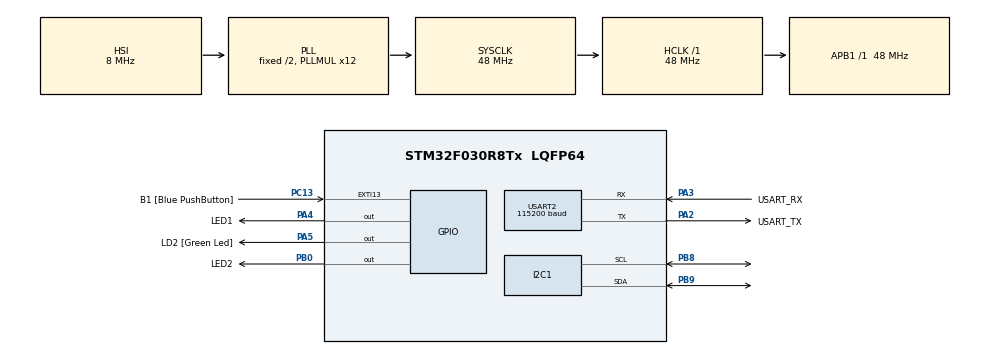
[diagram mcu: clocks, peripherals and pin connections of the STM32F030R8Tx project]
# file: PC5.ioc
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Dma.Request0=USART2_RX
Dma.USART2_RX.0.Direction=DMA_PERIPH_TO_MEMORY
Dma.USART2_RX.0.Instance=DMA1_Channel5
Dma.USART2_RX.0.MemDataAlignment=DMA_MDATAALIGN_BYTE
Dma.USART2_RX.0.MemInc=DMA_MINC_ENABLE
Dma.USART2_RX.0.Mode=DMA_CIRCULAR
Dma.USART2_RX.0.PeriphDataAlignment=DMA_PDATAALIGN_BYTE
Dma.USART2_RX.0.PeriphInc=DMA_PINC_DISABLE
Dma.USART2_RX.0.Priority=DMA_PRIORITY_LOW
I2C1.Timing=0x00201D2B
Mcu.Family=STM32F0
Mcu.Name=STM32F030R8Tx
Mcu.Package=LQFP64
NVIC.DMA1_Channel4_5_IRQn=true\:0\:0\:false\:false\:true\:false\:true\:true
PA13.GPIO_Label=TMS
PA13.Mode=Serial_Wire
PA13.Signal=SYS_SWDIO
PA14.GPIO_Label=TCK
PA14.Mode=Serial_Wire
PA14.Signal=SYS_SWCLK
PA2.GPIO_Label=USART_TX
PA2.GPIO_Mode=GPIO_MODE_AF_PP
PA2.GPIO_PuPd=GPIO_NOPULL
PA2.GPIO_Speed=GPIO_SPEED_FREQ_LOW
PA2.Mode=Asynchronous
PA2.Signal=USART2_TX
PA3.GPIO_Label=USART_RX
PA3.GPIO_Mode=GPIO_MODE_AF_PP
PA3.GPIO_PuPd=GPIO_NOPULL
PA3.GPIO_Speed=GPIO_SPEED_FREQ_LOW
PA3.Mode=Asynchronous
PA3.Signal=USART2_RX
PA4.GPIO_Label=LED1
PA4.Signal=GPIO_Output
PA5.GPIO_Label=LD2 [Green Led]
PA5.GPIO_Mode=GPIO_MODE_OUTPUT_PP
PA5.GPIO_PuPd=GPIO_NOPULL
PA5.GPIO_Speed=GPIO_SPEED_FREQ_LOW
PA5.Signal=GPIO_Output
PB0.GPIO_Label=LED2
PB0.Signal=GPIO_Output
PB8.Mode=I2C
PB8.Signal=I2C1_SCL
PB9.Mode=I2C
PB9.Signal=I2C1_SDA
PC13.GPIO_Label=B1 [Blue PushButton]
PC13.GPIO_ModeDefaultEXTI=GPIO_MODE_IT_FALLING
PC13.Signal=GPXTI13
PC14-OSC32_IN.Mode=LSE-External-Oscillator
PC14-OSC32_IN.Signal=RCC_OSC32_IN
PC15-OSC32_OUT.Mode=LSE-External-Oscillator
PC15-OSC32_OUT.Signal=RCC_OSC32_OUT
PF0-OSC_IN.Mode=HSE-External-Clock-Source
PF0-OSC_IN.Signal=RCC_OSC_IN
PF1-OSC_OUT.Signal=RCC_OSC_OUT
ProjectManager.HeapSize=0x200
ProjectManager.StackSize=0x400
ProjectManager.TargetToolchain=STM32CubeIDE
RCC.AHBFreq_Value=48000000
RCC.APB1Freq_Value=48000000
RCC.APB1TimFreq_Value=48000000
RCC.HCLKFreq_Value=48000000
RCC.PLLMUL=RCC_PLL_MUL12
RCC.SYSCLKFreq_VALUE=48000000
RCC.SYSCLKSource=RCC_SYSCLKSOURCE_PLLCLK
USART2.BaudRate=115200
USART2.VirtualMode-Asynchronous=VM_ASYNC
board=NUCLEO-F030R8

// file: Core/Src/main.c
/* USER CODE BEGIN Header */
/**
 ******************************************************************************
 * @file           : main.c
 * @brief          : Main program body
 ******************************************************************************
 * @attentio
 *
 * Copyright (c) 2025 STMicroelectronics.
 * All rights reserved.
 *
 * This software is licensed under terms that can be found in the LICENSE file
 * in the root directory of this software component.
 * If no LICENSE file comes with this software, it is provided AS-IS.
 *
 ******************************************************************************
 */
/* USER CODE END Header */
#include "main.h"

/* USER CODE BEGIN Includes */
#include <stdio.h>
#include <string.h>
#include <stdlib.h>

/* USER CODE END Includes */

/* USER CODE BEGIN PD */
#define RX_BUFFER_LEN 64
static uint8_t uart_rx_buf[RX_BUFFER_LEN];
static volatile uint16_t uart_rx_read_ptr = 0;
#define uart_rx_write_ptr (RX_BUFFER_LEN - hdma_usart2_rx.Instance->CNDTR)

static void uart_byte_available(uint8_t c);
static void uart_process_command(char cmd[]);

#define CMD_BUFFER_LEN 256

#define EEPROM_ADDR 0xA0

/* USER CODE END PD */

I2C_HandleTypeDef hi2c1;

UART_HandleTypeDef huart2;
DMA_HandleTypeDef hdma_usart2_rx;

void SystemClock_Config(void);
static void MX_GPIO_Init(void);
static void MX_DMA_Init(void);
static void MX_USART2_UART_Init(void);
static void MX_I2C1_Init(void);

/* USER CODE BEGIN 0 */
int _write(int file, char const *buf, int n)
{
	/* stdout redirection to UART2 */
	HAL_UART_Transmit(&huart2, (uint8_t*)(buf), n, HAL_MAX_DELAY);
	return n;
}
/* USER CODE END 0 */

int main(void)
{

	/* MCU Configuration--------------------------------------------------------*/

	/* Reset of all peripherals, Initializes the Flash interface and the Systick. */
	HAL_Init();

	/* Configure the system clock */
	SystemClock_Config();

	/* Initialize all configured peripherals */
	MX_GPIO_Init();
	MX_DMA_Init();
	MX_USART2_UART_Init();
	MX_I2C1_Init();

	/* Infinite loop */
	/* USER CODE BEGIN WHILE */
	while (1)
	{
		while (uart_rx_read_ptr != uart_rx_write_ptr) {
			uint8_t b = uart_rx_buf[uart_rx_read_ptr];
			// increase read pointer
			if (++uart_rx_read_ptr >= RX_BUFFER_LEN) uart_rx_read_ptr = 0;
			// process every received byte with the RX state machine
			uart_byte_available(b);
		}

		/* USER CODE END WHILE */

	}
}

void SystemClock_Config(void)
{
	RCC_OscInitTypeDef RCC_OscInitStruct = {0};
	RCC_ClkInitTypeDef RCC_ClkInitStruct = {0};
	RCC_PeriphCLKInitTypeDef PeriphClkInit = {0};

	/** Initializes the RCC Oscillators according to the specified parameters
	 * in the RCC_OscInitTypeDef structure.
	 */
	RCC_OscInitStruct.OscillatorType = RCC_OSCILLATORTYPE_HSI;
	RCC_OscInitStruct.HSIState = RCC_HSI_ON;
	RCC_OscInitStruct.HSICalibrationValue = RCC_HSICALIBRATION_DEFAULT;
	RCC_OscInitStruct.PLL.PLLState = RCC_PLL_ON;
	RCC_OscInitStruct.PLL.PLLSource = RCC_PLLSOURCE_HSI;
	RCC_OscInitStruct.PLL.PLLMUL = RCC_PLL_MUL12;
	RCC_OscInitStruct.PLL.PREDIV = RCC_PREDIV_DIV1;
	if (HAL_RCC_OscConfig(&RCC_OscInitStruct) != HAL_OK)
	{
		Error_Handler();
	}

	/** Initializes the CPU, AHB and APB buses clocks
	 */
	RCC_ClkInitStruct.ClockType = RCC_CLOCKTYPE_HCLK|RCC_CLOCKTYPE_SYSCLK
			|RCC_CLOCKTYPE_PCLK1;
	RCC_ClkInitStruct.SYSCLKSource = RCC_SYSCLKSOURCE_PLLCLK;
	RCC_ClkInitStruct.AHBCLKDivider = RCC_SYSCLK_DIV1;
	RCC_ClkInitStruct.APB1CLKDivider = RCC_HCLK_DIV1;

	if (HAL_RCC_ClockConfig(&RCC_ClkInitStruct, FLASH_LATENCY_1) != HAL_OK)
	{
		Error_Handler();
	}
	PeriphClkInit.PeriphClockSelection = RCC_PERIPHCLK_I2C1;
	PeriphClkInit.I2c1ClockSelection = RCC_I2C1CLKSOURCE_HSI;
	if (HAL_RCCEx_PeriphCLKConfig(&PeriphClkInit) != HAL_OK)
	{
		Error_Handler();
	}
}

static void MX_I2C1_Init(void)
{

	hi2c1.Instance = I2C1;
	hi2c1.Init.Timing = 0x00201D2B;
	hi2c1.Init.OwnAddress1 = 0;
	hi2c1.Init.AddressingMode = I2C_ADDRESSINGMODE_7BIT;
	hi2c1.Init.DualAddressMode = I2C_DUALADDRESS_DISABLE;
	hi2c1.Init.OwnAddress2 = 0;
	hi2c1.Init.OwnAddress2Masks = I2C_OA2_NOMASK;
	hi2c1.Init.GeneralCallMode = I2C_GENERALCALL_DISABLE;
	hi2c1.Init.NoStretchMode = I2C_NOSTRETCH_DISABLE;
	if (HAL_I2C_Init(&hi2c1) != HAL_OK)
	{
		Error_Handler();
	}

	/** Configure Analogue filter
	 */
	if (HAL_I2CEx_ConfigAnalogFilter(&hi2c1, I2C_ANALOGFILTER_ENABLE) != HAL_OK)
	{
		Error_Handler();
	}

	/** Configure Digital filter
	 */
	if (HAL_I2CEx_ConfigDigitalFilter(&hi2c1, 0) != HAL_OK)
	{
		Error_Handler();
	}

}

static void MX_USART2_UART_Init(void)
{

	huart2.Instance = USART2;
	huart2.Init.BaudRate = 115200;
	huart2.Init.WordLength = UART_WORDLENGTH_8B;
	huart2.Init.StopBits = UART_STOPBITS_1;
	huart2.Init.Parity = UART_PARITY_NONE;
	huart2.Init.Mode = UART_MODE_TX_RX;
	huart2.Init.HwFlowCtl = UART_HWCONTROL_NONE;
	huart2.Init.OverSampling = UART_OVERSAMPLING_16;
	huart2.Init.OneBitSampling = UART_ONE_BIT_SAMPLE_DISABLE;
	huart2.AdvancedInit.AdvFeatureInit = UART_ADVFEATURE_NO_INIT;
	if (HAL_UART_Init(&huart2) != HAL_OK)
	{
		Error_Handler();
	}
	/* USER CODE BEGIN USART2_Init 2 */

	HAL_UART_Receive_DMA(&huart2, uart_rx_buf, RX_BUFFER_LEN);

	/* USER CODE END USART2_Init 2 */

}

static void MX_DMA_Init(void)
{

	/* DMA controller clock enable */
	__HAL_RCC_DMA1_CLK_ENABLE();

	/* DMA interrupt init */
	/* DMA1_Channel4_5_IRQn interrupt configuration */
	HAL_NVIC_SetPriority(DMA1_Channel4_5_IRQn, 0, 0);
	HAL_NVIC_EnableIRQ(DMA1_Channel4_5_IRQn);

}

static void MX_GPIO_Init(void)
{
	GPIO_InitTypeDef GPIO_InitStruct = {0};

	/* GPIO Ports Clock Enable */
	__HAL_RCC_GPIOC_CLK_ENABLE();
	__HAL_RCC_GPIOF_CLK_ENABLE();
	__HAL_RCC_GPIOA_CLK_ENABLE();
	__HAL_RCC_GPIOB_CLK_ENABLE();

	/*Configure GPIO pin Output Level */
	HAL_GPIO_WritePin(GPIOA, LED1_Pin|LD2_Pin, GPIO_PIN_RESET);

	/*Configure GPIO pin Output Level */
	HAL_GPIO_WritePin(LED2_GPIO_Port, LED2_Pin, GPIO_PIN_RESET);

	/*Configure GPIO pin : B1_Pin */
	GPIO_InitStruct.Pin = B1_Pin;
	GPIO_InitStruct.Mode = GPIO_MODE_IT_FALLING;
	GPIO_InitStruct.Pull = GPIO_NOPULL;
	HAL_GPIO_Init(B1_GPIO_Port, &GPIO_InitStruct);

	/*Configure GPIO pins : LED1_Pin LD2_Pin */
	GPIO_InitStruct.Pin = LED1_Pin|LD2_Pin;
	GPIO_InitStruct.Mode = GPIO_MODE_OUTPUT_PP;
	GPIO_InitStruct.Pull = GPIO_NOPULL;
	GPIO_InitStruct.Speed = GPIO_SPEED_FREQ_LOW;
	HAL_GPIO_Init(GPIOA, &GPIO_InitStruct);

	/*Configure GPIO pin : LED2_Pin */
	GPIO_InitStruct.Pin = LED2_Pin;
	GPIO_InitStruct.Mode = GPIO_MODE_OUTPUT_PP;
	GPIO_InitStruct.Pull = GPIO_NOPULL;
	GPIO_InitStruct.Speed = GPIO_SPEED_FREQ_LOW;
	HAL_GPIO_Init(LED2_GPIO_Port, &GPIO_InitStruct);

}

/* USER CODE BEGIN 4 */

static void uart_byte_available(uint8_t c)
{
	static uint16_t cnt;
	static char data[CMD_BUFFER_LEN];
	if (cnt < CMD_BUFFER_LEN && c >= 32 && c <= 126) data[cnt++] = c;
	if ((c == '\n' || c == '\r') && cnt > 0) {
		data[cnt] = '\0';
		uart_process_command(data);
		cnt = 0;
	}
}

static void uart_process_command(char cmd[]){
	char *token;
	token = strtok(cmd, " ");
	if (strcasecmp(token, "HELLO") == 0) {
		printf("Communication OK\n");
		return;
	}
	else if (strcasecmp(token, "LED1") == 0) {
		token = strtok(NULL, " ");
		if (strcasecmp(token, "ON") == 0) {
			HAL_GPIO_WritePin(LED1_GPIO_Port, LED1_Pin, 1);
			return;

		} else if (strcasecmp(token, "OFF") == 0) {
			HAL_GPIO_WritePin(LED1_GPIO_Port, LED1_Pin, 0);
			return;
		}
	}
	else if (strcasecmp(token, "LED2") == 0) {
		token = strtok(NULL, " ");
		if (strcasecmp(token, "ON") == 0) {
			HAL_GPIO_WritePin(LED2_GPIO_Port, LED2_Pin, 1);
			return;
		} else if (strcasecmp(token, "OFF") == 0) {
			HAL_GPIO_WritePin(LED2_GPIO_Port, LED2_Pin, 0);
			return;
		}
	}
	else if (strcasecmp(token, "STATUS") == 0) {
		printf("LEDs status: LED1 je '%s', LED2 je '%s'\n", HAL_GPIO_ReadPin(LED1_GPIO_Port, LED1_Pin)?"on":"off", HAL_GPIO_ReadPin(LED2_GPIO_Port, LED2_Pin)?"on":"off");
		return;
	}
	else if (strcasecmp(token, "READ") == 0) {
		token = strtok(NULL, " ");
		uint16_t addr = atoi(token);
		uint8_t value;
		/* Check if the EEPROM is ready for a new operation */
		while (HAL_I2C_IsDeviceReady(&hi2c1, EEPROM_ADDR, 300, 1000) != HAL_OK) {}
		HAL_I2C_Mem_Read(&hi2c1, EEPROM_ADDR, addr, I2C_MEMADD_SIZE_16BIT, &value, 1, 1000);
		printf("EEPROM data on adress: addr je '%u', data je '%u'\n", addr, value);
		return;
	}
	else if (strcasecmp(token, "WRITE") == 0) {
		token = strtok(NULL, " ");
		uint16_t addr =  atoi(token);
		token = strtok(NULL, " ");
		uint8_t value =  atoi(token);
		/* Check if the EEPROM is ready for a new operation */

		while (HAL_I2C_IsDeviceReady(&hi2c1, EEPROM_ADDR, 300, 1000) != HAL_OK) {}
		HAL_I2C_Mem_Write(&hi2c1, EEPROM_ADDR, addr, I2C_MEMADD_SIZE_16BIT, &value, 1, 1000);
		printf("EEPROM data writen on adress: addr je '%ui', data je '%ui'\n", addr, value);
		return;
	}
	else if (strcasecmp(token, "DUMP") == 0) {
		static uint8_t dump[64];;
		while (HAL_I2C_IsDeviceReady(&hi2c1, EEPROM_ADDR, 300, 1000) != HAL_OK) {}
		HAL_I2C_Mem_Read(&hi2c1, EEPROM_ADDR, 0, I2C_MEMADD_SIZE_16BIT, dump, sizeof(dump), 1000);
		printf("DUMP: \n\r-----------------------------");
		for(uint8_t i = 0; i < sizeof(dump); i++)
		{
			if(i%5 == 0)
			{
				printf("\r\n %02i:", i);
			}
			printf("0x%02x ", dump[i]);
		}
		printf("\n\r-----------------------------\r\n");

		return;
	}

}

/* USER CODE END 4 */

void Error_Handler(void)
{
	__disable_irq();
	while (1)
	{
	}
}
